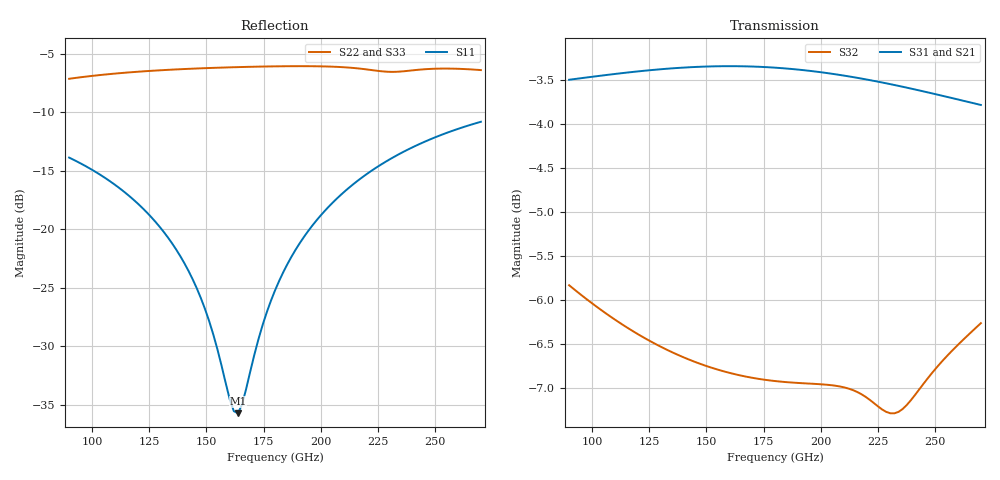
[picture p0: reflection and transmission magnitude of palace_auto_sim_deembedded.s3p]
! Created with skrf 1.11.0 (http://scikit-rf.org).
# GHz S DB R 50.0
!freq dBS11 angS11 dBS12 angS12 dBS13 angS13
! dBS21 angS21 dBS22 angS22 dBS23 angS23
! dBS31 angS31 dBS32 angS32 dBS33 angS33
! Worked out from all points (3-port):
!   101 points, 90 GHz to 270 GHz, reference 50 ohm
!   strongest paths, dB at 90 GHz, 135 GHz, 180 GHz, 225 GHz, 270 GHz:
!     S31: -3.5, -3.4, -3.4, -3.5, -3.8
!     S21: -3.5, -3.4, -3.4, -3.5, -3.8
!     S32: -5.8, -6.6, -6.9, -7.2, -6.3
!   lowest |S11| = -35.8 dB at 163.8 GHz (marker M1), VSWR 1.03, Z = 51.6 + j0.36 ohm
!   |S11| at or under -10 dB: start of sweep to end of sweep
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90  -13.88 137.6  -3.51 -42.7  -3.50 -42.7
    -3.51 -42.7  -7.13 50.6  -5.83 -99.7
    -3.50 -42.7  -5.83 -99.7  -7.14 50.6
117  -17.28 123.3  -3.42 -56.1  -3.42 -56.1
     -3.42 -56.1  -6.58 31.5  -6.34 -125.6
     -3.42 -56.1  -6.34 -125.6  -6.58 31.4
136.8  -21.74 109.6  -3.37 -66.1  -3.37 -66.1
       -3.37 -66.1  -6.33 19.6  -6.62 -144.0
       -3.37 -66.1  -6.62 -144.0  -6.34 19.5
149.4  -26.83 94.4  -3.35 -72.6  -3.35 -72.6
       -3.35 -72.6  -6.23 12.7  -6.75 -155.6
       -3.35 -72.6  -6.75 -155.6  -6.23 12.6
160.2  -34.54 50.3  -3.35 -78.1  -3.35 -78.2
       -3.35 -78.1  -6.16 7.0  -6.83 -165.4
       -3.35 -78.2  -6.83 -165.4  -6.16 6.9
163.8  -35.75 12.3  -3.35 -80.0  -3.35 -80.0
       -3.35 -80.0  -6.14 5.1  -6.85 -168.7
       -3.35 -80.0  -6.85 -168.7  -6.14 5.0
180  -25.24 -61.7  -3.37 -88.4  -3.37 -88.4
     -3.37 -88.4  -6.07 -3.2  -6.92 176.4
     -3.37 -88.4  -6.92 176.4  -6.07 -3.3
194.4  -20.19 -76.1  -3.40 -95.8  -3.40 -95.8
       -3.40 -95.8  -6.06 -10.7  -6.95 163.1
       -3.40 -95.8  -6.95 163.1  -6.06 -10.8
214.2  -16.16 -88.8  -3.47 -105.9  -3.47 -105.9
       -3.47 -105.9  -6.21 -21.3  -7.03 144.3
       -3.47 -105.9  -7.03 144.3  -6.20 -21.4
270  -10.81 -116.1  -3.78 -133.6  -3.79 -133.6
     -3.78 -133.6  -6.39 -52.2  -6.26 95.9
     -3.79 -133.6  -6.26 95.9  -6.37 -52.3
